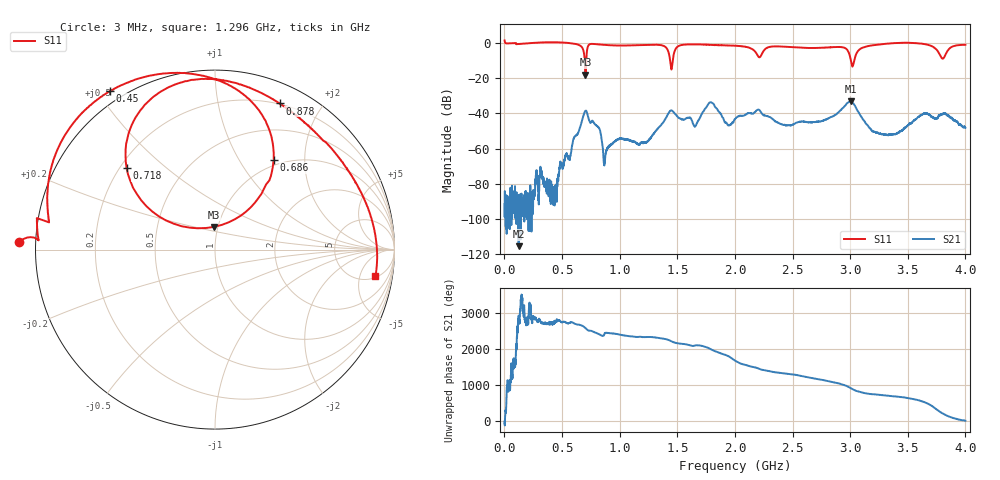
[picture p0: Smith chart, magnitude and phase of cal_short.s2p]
!Created with skrf (http://scikit-rf.org).
# GHz S RI R 50.0
!freq ReS11 ImS11 ReS21 ImS21 ReS12 ImS12 ReS22 ImS22
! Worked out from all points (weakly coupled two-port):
!   4000 points, 1 MHz to 4 GHz, reference 50 ohm
!   highest |S21| = -33.08 dB at 3.004 GHz (marker M1); lowest = -115.6 dB at 123 MHz (marker M2)
!   lowest |S11| = -18.0 dB at 703 MHz (marker M3), VSWR 1.29, Z = 47.8 + j12.3 ohm
!   |S11| at or under -10 dB: 696.8 MHz to 709 MHz (12.22 MHz wide, 1.74 % of centre); 1.438 GHz to 1.46 GHz (21.78 MHz wide, 1.5 % of centre); 3.007 GHz to 3.034 GHz (27.7 MHz wide, 0.917 % of centre)
!   S12 and S22 are empty: the file has one direction only
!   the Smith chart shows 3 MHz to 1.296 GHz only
!   S11 on the Smith chart (normalised r, x): 3 MHz: -0.05, +0.02; 450 MHz: -0.04, +0.54; 686 MHz: 0.91, +1.42; 718 MHz: 0.23, +0.37; 878 MHz: 0.19, +1.52; 1.296 GHz: 5, -9
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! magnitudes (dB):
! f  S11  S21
! 1 MHz  1.5  -91.6
! 3 MHz  0.8  -84.2
! 123 MHz  -0.5  -115.6
! 450 MHz  0.5  -83.6
! 668 MHz  -2.0  -45.3
! 686 MHz  -4.5  -41.0
! 703 MHz  -18.0  -38.5
! 718 MHz  -3.5  -40.0
! 818 MHz  -0.7  -48.1
! 878 MHz  -1.0  -62.9
! 1.296 GHz  -0.9  -51.2
! 1.334 GHz  -0.9  -48.4
! 1.449 GHz  -15.0  -38.3
! 1.654 GHz  -0.7  -47.3
! 1.789 GHz  -0.9  -33.7
! 2.001 GHz  -1.4  -43.2
! 2.667 GHz  -2.7  -45.1
! 3.004 GHz  -9.2  -33.1
! 3.334 GHz  -0.2  -52.2
! 3.651 GHz  -0.6  -40.0
! 3.803 GHz  -8.8  -40.4
! 4 GHz  -0.9  -48.2
